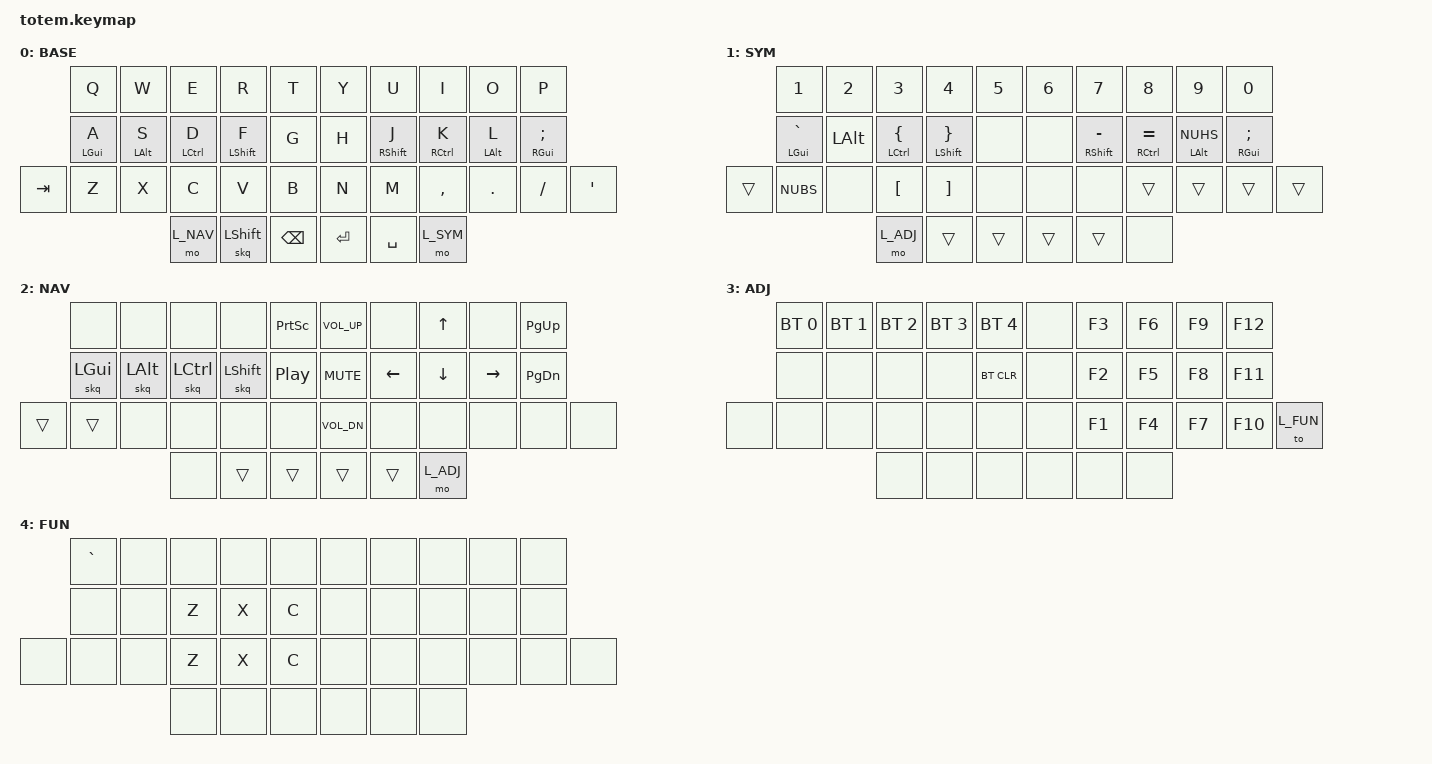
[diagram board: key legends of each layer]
//
//                                                        ▀▀▀▀▀     ▀▀▀▀▀          ▀▀█▀▀
//                                                        ▄▀▀▀▄  ▄  ▄▀▀▀▄  ▄  ▄▀▀▀▄  █  ▄▀▀▀▄
//                                                        █   █  █  █   █  █  █   █  █  █   █
//                                                         ▀▀▀   █   ▀▀▀   █   ▀▀▀   ▀   ▀▀▀
//                                                               █      ▄▄▄█▄▄▄    █   █
//                                                               ▀      █  █  █     █▄█
//                                                             ▀▀▀▀▀    █  █  █      ▀
//                                                                      ▀  ▀  ▀
//
// ▄▄▄▄▄▄▄▄▄▄▄▄▄▄▄▄▄▄▄▄▄▄▄▄▄▄▄▄▄▄▄▄▄▄▄▄▄▄▄▄▄▄▄▄▄▄▄▄▄▄▄▄▄▄▄▄▄▄▄▄▄▄▄▄▄▄▄▄▄▄▄▄▄▄▄▄▄▄▄▄▄▄▄▄▄▄▄▄▄▄▄▄▄▄▄▄▄▄▄▄▄▄▄▄▄▄▄▄▄▄▄▄▄▄▄▄▄▄▄▄▄▄▄▄▄▄▄▄▄▄▄▄▄▄▄▄▄▄▄▄▄▄▄▄▄▄▄▄▄


#include <behaviors.dtsi>
#include <dt-bindings/zmk/keys.h>
#include <dt-bindings/zmk/bt.h>

#define L_BASE 0
#define L_SYM  1
#define L_NAV  2
#define L_ADJ  3
#define L_FUN  4

#define KEYS_L 0 1 2 3 4 10 11 12 13 14 20 21 22 23 24 25
#define KEYS_R 5 6 7 8 9 15 16 17 18 19 26 27 28 29 30 31
#define KEYS_THMBS 32 33 34 35 36 37

/ {
    behaviors {
        hml: home_row_mod_left {
            compatible = "zmk,behavior-hold-tap";
            #binding-cells = <2>;
            bindings = <&kp>, <&kp>;
            flavor = "balanced";
            require-prior-idle-ms = <150>;
            tapping-term-ms = <280>;
            quick-tap-ms = <175>;
            hold-trigger-key-positions = <KEYS_R KEYS_THMBS>;
            hold-trigger-on-release;
        };

        hmr: home_row_mod_right {
            compatible = "zmk,behavior-hold-tap";
            #binding-cells = <2>;
            bindings = <&kp>, <&kp>;
            flavor = "balanced";
            require-prior-idle-ms = <150>;
            tapping-term-ms = <280>;
            quick-tap-ms = <175>;
            hold-trigger-key-positions = <KEYS_L KEYS_THMBS>;
            hold-trigger-on-release;
        };

        skq: sticky_key_quick_release {
            compatible = "zmk,behavior-sticky-key";
            #binding-cells = <1>;
            bindings = <&kp>;
            release-after-ms = <1000>;
            quick-release;
            ignore-modifiers;
        };
    };

    combos {
        compatible = "zmk,combos";
        combo_esc {
            key-positions = <0 1>;
            bindings = <&kp ESC>;
            timeout-ms = <40>;
            require-prior-idle-ms = <150>;
        };

        combo_base {
            key-positions = <20 31>;
            bindings = <&to L_BASE>;
            layers = <L_FUN>;
            timeout-ms = <40>;
            require-prior-idle-ms = <150>;
        };
    };

    keymap {
        compatible = "zmk,keymap";
        base_layer {
            display-name = "BASE";
            //             ┏━━━━━━━━━━━┳━━━━━━━━━━━┳━━━━━━━━━━━┳━━━━━━━━━━━┳━━━━━━━━━━━┓        ┏━━━━━━━━━━━┳━━━━━━━━━━━┳━━━━━━━━━━━┳━━━━━━━━━━━┳━━━━━━━━━━━┓
            //             ┃     Q   [ESC]   W     ┃     E     ┃     R     ┃     T     ┃        ┃     Y     ┃     U     ┃     I     ┃     O     ┃     P     ┃
            //             ┣━━━━━━━━━━━╋━━━━━━━━━━━╋━━━━━━━━━━━╋━━━━━━━━━━━╋━━━━━━━━━━━┫        ┣━━━━━━━━━━━╋━━━━━━━━━━━╋━━━━━━━━━━━╋━━━━━━━━━━━╋━━━━━━━━━━━┫
            //             ┃  A (GUI)  ┃  S (ALT)  ┃  D (CTRL) ┃ F (SHIFT) ┃     G     ┃        ┃     H     ┃ J (SHIFT) ┃  K (CTRL) ┃  L (ALT)  ┃  ; (GUI)  ┃
            // ┏━━━━━━━━━━━╋━━━━━━━━━━━╋━━━━━━━━━━━╋━━━━━━━━━━━╋━━━━━━━━━━━╋━━━━━━━━━━━┫        ┣━━━━━━━━━━━╋━━━━━━━━━━━╋━━━━━━━━━━━╋━━━━━━━━━━━╋━━━━━━━━━━━╋━━━━━━━━━━━┓
            // ┃    TAB    ┃     Z     ┃     X     ┃     C     ┃     V     ┃     B     ┃        ┃     N     ┃     M     ┃     ,     ┃     .     ┃     /     ┃     '     ┃
            // ┗━━━━━━━━━━━┻━━━━━━━━━━━┻━━━━━━━━━━━╋━━━━━━━━━━━╋━━━━━━━━━━━╋━━━━━━━━━━━┫        ┣━━━━━━━━━━━╋━━━━━━━━━━━╋━━━━━━━━━━━╋━━━━━━━━━━━┻━━━━━━━━━━━┻━━━━━━━━━━━┛
            //                                     ┃   <NAV>   ┃   LSHFT   ┃ BACKSPACE ┃        ┃   ENTER   ┃   SPACE   ┃   <SYM>   ┃
            //                                     ┗━━━━━━━━━━━┻━━━━━━━━━━━┻━━━━━━━━━━━┛        ┗━━━━━━━━━━━┻━━━━━━━━━━━┻━━━━━━━━━━━┛
            bindings = <
                             &kp Q        &kp W        &kp E         &kp R        &kp T          &kp Y       &kp U        &kp I        &kp O        &kp P
                             &hml LGUI A  &hml LALT S  &hml LCTRL D  &hml LSHFT F &kp G          &kp H       &hmr RSHFT J &hmr RCTRL K &hmr LALT L  &hmr RGUI SEMI
                &kp TAB      &kp Z        &kp X        &kp C         &kp V        &kp B          &kp N       &kp M        &kp COMMA    &kp DOT      &kp FSLH       &kp APOS
                                                       &mo L_NAV     &skq LSHFT   &kp BSPC       &kp ENTER   &kp SPACE    &mo L_SYM
            >;
        };

        sym_layer {
            display-name = "SYM";
            //             ┏━━━━━━━━━━━┳━━━━━━━━━━━┳━━━━━━━━━━━┳━━━━━━━━━━━┳━━━━━━━━━━━┓        ┏━━━━━━━━━━━┳━━━━━━━━━━━┳━━━━━━━━━━━┳━━━━━━━━━━━┳━━━━━━━━━━━┓
            //             ┃     1   [ESC]   2     ┃     3     ┃     4     ┃     5     ┃        ┃     6     ┃     7     ┃     8     ┃     9     ┃     0     ┃
            //             ┣━━━━━━━━━━━╋━━━━━━━━━━━╋━━━━━━━━━━━╋━━━━━━━━━━━╋━━━━━━━━━━━┫        ┣━━━━━━━━━━━╋━━━━━━━━━━━╋━━━━━━━━━━━╋━━━━━━━━━━━╋━━━━━━━━━━━┫
            //             ┃  ` (GUI)  ┃    ALT    ┃  { (CTRL) ┃ } (SHIFT) ┃           ┃        ┃           ┃ - (SHIFT) ┃  = (CTRL) ┃  # (ALT)  ┃  ; (GUI)  ┃
            // ┏━━━━━━━━━━━╋━━━━━━━━━━━╋━━━━━━━━━━━╋━━━━━━━━━━━╋━━━━━━━━━━━╋━━━━━━━━━━━┫        ┣━━━━━━━━━━━╋━━━━━━━━━━━╋━━━━━━━━━━━╋━━━━━━━━━━━╋━━━━━━━━━━━╋━━━━━━━━━━━┓
            // ┃     ↑     ┃     \     ┃           ┃     [     ┃     ]     ┃           ┃        ┃           ┃           ┃     ↑     ┃     ↑     ┃     ↑     ┃     ↑     ┃
            // ┗━━━━━━━━━━━┻━━━━━━━━━━━┻━━━━━━━━━━━╋━━━━━━━━━━━╋━━━━━━━━━━━╋━━━━━━━━━━━┫        ┣━━━━━━━━━━━╋━━━━━━━━━━━╋━━━━━━━━━━━╋━━━━━━━━━━━┻━━━━━━━━━━━┻━━━━━━━━━━━┛
            //                                     ┃  [<ADJ>]  ┃     ↑     ┃     ↑     ┃        ┃     ↑     ┃     ↑     ┃           ┃
            //                                     ┗━━━━━━━━━━━┻━━━━━━━━━━━┻━━━━━━━━━━━┛        ┗━━━━━━━━━━━┻━━━━━━━━━━━┻━━━━━━━━━━━┛
            bindings = <
                             &kp N1       &kp N2       &kp N3        &kp N4       &kp N5        &kp N6       &kp N7       &kp N8       &kp N9       &kp N0
                        &hml LGUI GRAVE   &kp LALT  &hml LCTRL LBRC  &hml LSHFT RBRC  &none     &none  &hmr RSHFT MINUS  &hmr RCTRL EQUAL  &hmr LALT NUHS  &hmr RGUI SEMI
                &trans       &kp NUBS     &none        &kp LBKT      &kp RBKT     &none         &none        &none        &trans       &trans       &trans       &trans
                                                       &mo L_ADJ     &trans       &trans        &trans       &trans       &none
            >;
        };

        nav_layer {
            display-name = "NAV";
            //             ┏━━━━━━━━━━━┳━━━━━━━━━━━┳━━━━━━━━━━━┳━━━━━━━━━━━┳━━━━━━━━━━━┓        ┏━━━━━━━━━━━┳━━━━━━━━━━━┳━━━━━━━━━━━┳━━━━━━━━━━━┳━━━━━━━━━━━┓
            //             ┃         [ESC]         ┃           ┃           ┃   PRTSC   ┃        ┃  VOL  UP  ┃           ┃    UP     ┃           ┃   PG UP   ┃
            //             ┣━━━━━━━━━━━╋━━━━━━━━━━━╋━━━━━━━━━━━╋━━━━━━━━━━━╋━━━━━━━━━━━┫        ┣━━━━━━━━━━━╋━━━━━━━━━━━╋━━━━━━━━━━━╋━━━━━━━━━━━╋━━━━━━━━━━━┫
            //             ┃    GUI    ┃    ALT    ┃   CTRL    ┃   SHIFT   ┃ PLAY/PAUSE┃        ┃   MUTE    ┃   LEFT    ┃   DOWN    ┃   RIGHT   ┃  PG DOWN  ┃
            // ┏━━━━━━━━━━━╋━━━━━━━━━━━╋━━━━━━━━━━━╋━━━━━━━━━━━╋━━━━━━━━━━━╋━━━━━━━━━━━┫        ┣━━━━━━━━━━━╋━━━━━━━━━━━╋━━━━━━━━━━━╋━━━━━━━━━━━╋━━━━━━━━━━━╋━━━━━━━━━━━┓
            // ┃     ↑     ┃           ┃           ┃           ┃           ┃           ┃        ┃ VOL  DOWN ┃           ┃           ┃           ┃           ┃           ┃
            // ┗━━━━━━━━━━━┻━━━━━━━━━━━┻━━━━━━━━━━━╋━━━━━━━━━━━╋━━━━━━━━━━━╋━━━━━━━━━━━┫        ┣━━━━━━━━━━━╋━━━━━━━━━━━╋━━━━━━━━━━━╋━━━━━━━━━━━┻━━━━━━━━━━━┻━━━━━━━━━━━┛
            //                                     ┃           ┃     ↑     ┃     ↑     ┃        ┃     ↑     ┃     ↑     ┃  [<ADJ>]  ┃
            //                                     ┗━━━━━━━━━━━┻━━━━━━━━━━━┻━━━━━━━━━━━┛        ┗━━━━━━━━━━━┻━━━━━━━━━━━┻━━━━━━━━━━━┛
            bindings = <
                            &none         &none        &none         &none        &kp PSCRN     &kp C_VOL_UP &none        &kp UP       &none        &kp PG_UP
                            &skq LGUI     &skq LALT    &skq LCTRL    &skq LSHIFT  &kp C_PP      &kp C_MUTE   &kp LEFT     &kp DOWN     &kp RIGHT    &kp PG_DN
                &trans      &trans        &none        &none         &none        &none         &kp C_VOL_DN &none        &none        &none        &none        &none
                                                       &none        &trans       &trans        &trans       &trans       &mo L_ADJ
            >;
        };

        adj_layer {
            display-name = "ADJ";
            //             ┏━━━━━━━━━━━┳━━━━━━━━━━━┳━━━━━━━━━━━┳━━━━━━━━━━━┳━━━━━━━━━━━┓        ┏━━━━━━━━━━━┳━━━━━━━━━━━┳━━━━━━━━━━━┳━━━━━━━━━━━┳━━━━━━━━━━━┓
            //             ┃   BT  0 [ESC] BT  1   ┃   BT  2   ┃   BT  3   ┃   BT  4   ┃        ┃           ┃    F7     ┃    F8     ┃    F9     ┃    F12    ┃
            //             ┣━━━━━━━━━━━╋━━━━━━━━━━━╋━━━━━━━━━━━╋━━━━━━━━━━━╋━━━━━━━━━━━┫        ┣━━━━━━━━━━━╋━━━━━━━━━━━╋━━━━━━━━━━━╋━━━━━━━━━━━╋━━━━━━━━━━━┫
            //             ┃           ┃           ┃           ┃           ┃  BT  CLR  ┃        ┃           ┃    F4     ┃    F5     ┃    F6     ┃    F11    ┃
            // ┏━━━━━━━━━━━╋━━━━━━━━━━━╋━━━━━━━━━━━╋━━━━━━━━━━━╋━━━━━━━━━━━╋━━━━━━━━━━━┫        ┣━━━━━━━━━━━╋━━━━━━━━━━━╋━━━━━━━━━━━╋━━━━━━━━━━━╋━━━━━━━━━━━╋━━━━━━━━━━━┓
            // ┃           ┃           ┃           ┃           ┃           ┃           ┃        ┃           ┃    F1     ┃    F2     ┃    F3     ┃    F10    ┃  [<FUN>]  ┃
            // ┗━━━━━━━━━━━┻━━━━━━━━━━━┻━━━━━━━━━━━╋━━━━━━━━━━━╋━━━━━━━━━━━╋━━━━━━━━━━━┫        ┣━━━━━━━━━━━╋━━━━━━━━━━━╋━━━━━━━━━━━╋━━━━━━━━━━━┻━━━━━━━━━━━┻━━━━━━━━━━━┛
            //                                     ┃           ┃           ┃           ┃        ┃           ┃           ┃           ┃
            //                                     ┗━━━━━━━━━━━┻━━━━━━━━━━━┻━━━━━━━━━━━┛        ┗━━━━━━━━━━━┻━━━━━━━━━━━┻━━━━━━━━━━━┛
            bindings = <
                             &bt BT_SEL 0 &bt BT_SEL 1 &bt BT_SEL 2  &bt BT_SEL 3 &bt BT_SEL 4  &none        &kp F3       &kp F6       &kp F9        &kp F12
                             &none        &none        &none         &none        &bt BT_CLR    &none        &kp F2       &kp F5       &kp F8        &kp F11
                &none        &none        &none        &none         &none        &none         &none        &kp F1       &kp F4       &kp F7        &kp F10      &to L_FUN
                                                       &none         &none        &none         &none        &none        &none
            >;
        };

        fun_layer {
            display-name = "FUN";
            //             ┏━━━━━━━━━━━┳━━━━━━━━━━━┳━━━━━━━━━━━┳━━━━━━━━━━━┳━━━━━━━━━━━┓        ┏━━━━━━━━━━━┳━━━━━━━━━━━┳━━━━━━━━━━━┳━━━━━━━━━━━┳━━━━━━━━━━━┓
            //             ┃     `   [ESC]         ┃           ┃           ┃           ┃        ┃           ┃           ┃           ┃           ┃           ┃
            //             ┣━━━━━━━━━━━╋━━━━━━━━━━━╋━━━━━━━━━━━╋━━━━━━━━━━━╋━━━━━━━━━━━┫        ┣━━━━━━━━━━━╋━━━━━━━━━━━╋━━━━━━━━━━━╋━━━━━━━━━━━╋━━━━━━━━━━━┫
            //             ┃           ┃           ┃     Z     ┃     X     ┃     C     ┃        ┃           ┃           ┃           ┃           ┃           ┃
            // ┏━━━━━━━━━━━╋━━━━━━━━━━━╋━━━━━━━━━━━╋━━━━━━━━━━━╋━━━━━━━━━━━╋━━━━━━━━━━━┫        ┣━━━━━━━━━━━╋━━━━━━━━━━━╋━━━━━━━━━━━╋━━━━━━━━━━━╋━━━━━━━━━━━╋━━━━━━━━━━━┓
            // ┃  [<BASE>] ┃           ┃           ┃     Z     ┃     X     ┃     C     ┃        ┃           ┃           ┃           ┃           ┃           ┃  [<BASE>] ┃
            // ┗━━━━━━━━━━━┻━━━━━━━━━━━┻━━━━━━━━━━━╋━━━━━━━━━━━╋━━━━━━━━━━━╋━━━━━━━━━━━┫        ┣━━━━━━━━━━━╋━━━━━━━━━━━╋━━━━━━━━━━━╋━━━━━━━━━━━┻━━━━━━━━━━━┻━━━━━━━━━━━┛
            //                                     ┃           ┃           ┃           ┃        ┃           ┃           ┃           ┃
            //                                     ┗━━━━━━━━━━━┻━━━━━━━━━━━┻━━━━━━━━━━━┛        ┗━━━━━━━━━━━┻━━━━━━━━━━━┻━━━━━━━━━━━┛
            bindings = <
                             &kp GRAVE    &none        &none         &none        &none         &none        &none        &none        &none         &none
                             &none        &none        &kp Z         &kp X        &kp C         &none        &none        &none        &none         &none
                &none        &none        &none        &kp Z         &kp X        &kp C         &none        &none        &none        &none         &none        &none
                                                       &none         &none        &none         &none        &none        &none
            >;
        };
    };
};
